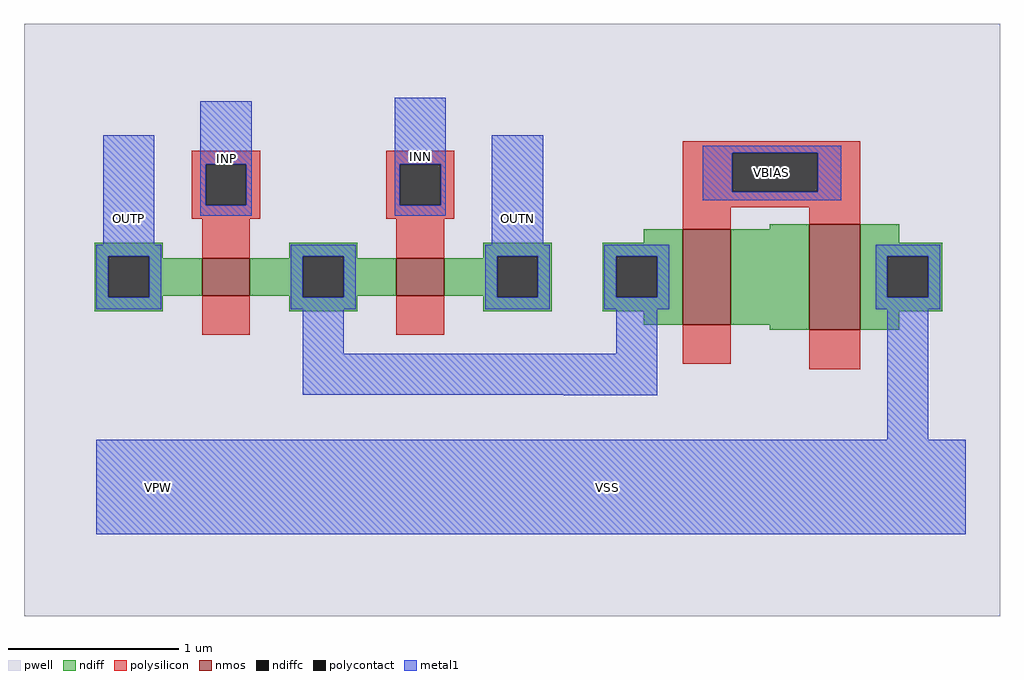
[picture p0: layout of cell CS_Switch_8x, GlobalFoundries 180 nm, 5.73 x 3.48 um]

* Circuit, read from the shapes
.subckt CS_Switch_8x INP INN OUTP OUTN VBIAS VSS VPW
XM1 n1 INP OUTP VPW nfet_03v3 w=0.22u l=0.28u
XM2 OUTN INN n1 VPW nfet_03v3 w=0.22u l=0.28u
XM3 n2 VBIAS n1 VPW nfet_03v3 w=0.56u l=0.28u
XM4 VSS VBIAS n2 VPW nfet_03v3 w=0.62u l=0.3u
.ends

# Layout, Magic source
magic
tech gf180mcuD
magscale 1 10
<< pwell >>
rect 519 1024 1664 1719
<< nmos >>
rect 728 1400 784 1444
rect 956 1400 1012 1444
rect 1292 1366 1348 1478
rect 1440 1360 1500 1484
<< ndiff >>
rect 602 1446 682 1462
rect 602 1398 618 1446
rect 666 1444 682 1446
rect 830 1446 910 1462
rect 830 1444 846 1446
rect 666 1400 728 1444
rect 784 1400 846 1444
rect 666 1398 682 1400
rect 602 1382 682 1398
rect 830 1398 846 1400
rect 894 1444 910 1446
rect 1394 1478 1440 1484
rect 1246 1462 1292 1478
rect 1058 1446 1138 1462
rect 1058 1444 1074 1446
rect 894 1400 956 1444
rect 1012 1400 1074 1444
rect 894 1398 910 1400
rect 830 1382 910 1398
rect 1058 1398 1074 1400
rect 1122 1398 1138 1446
rect 1058 1382 1138 1398
rect 1198 1446 1292 1462
rect 1198 1398 1214 1446
rect 1262 1398 1292 1446
rect 1198 1382 1292 1398
rect 1246 1366 1292 1382
rect 1348 1366 1440 1478
rect 1394 1360 1440 1366
rect 1500 1462 1546 1484
rect 1500 1446 1596 1462
rect 1500 1398 1532 1446
rect 1580 1398 1596 1446
rect 1500 1382 1596 1398
rect 1500 1360 1546 1382
<< ndiffc >>
rect 618 1398 666 1446
rect 846 1398 894 1446
rect 1074 1398 1122 1446
rect 1214 1398 1262 1446
rect 1532 1398 1580 1446
<< polysilicon >>
rect 716 1554 796 1570
rect 716 1506 732 1554
rect 780 1506 796 1554
rect 716 1490 796 1506
rect 944 1554 1024 1570
rect 944 1506 960 1554
rect 1008 1506 1024 1554
rect 944 1490 1024 1506
rect 1292 1568 1500 1581
rect 1292 1522 1350 1568
rect 1450 1522 1500 1568
rect 1292 1504 1500 1522
rect 728 1444 784 1490
rect 728 1354 784 1400
rect 956 1444 1012 1490
rect 1292 1478 1348 1504
rect 1440 1484 1500 1504
rect 956 1354 1012 1400
rect 1292 1320 1348 1366
rect 1440 1314 1500 1360
<< polycontact >>
rect 732 1506 780 1554
rect 960 1506 1008 1554
rect 1350 1522 1450 1568
<< metal1 >>
rect 612 1460 672 1588
rect 726 1554 786 1628
rect 726 1506 732 1554
rect 780 1506 786 1554
rect 726 1494 786 1506
rect 954 1554 1014 1632
rect 954 1506 960 1554
rect 1008 1506 1014 1554
rect 954 1494 1014 1506
rect 1068 1460 1128 1588
rect 1315 1568 1478 1576
rect 1315 1522 1350 1568
rect 1450 1522 1478 1568
rect 1315 1512 1478 1522
rect 604 1446 680 1460
rect 604 1398 618 1446
rect 666 1398 680 1446
rect 604 1384 680 1398
rect 832 1446 908 1460
rect 832 1398 846 1446
rect 894 1398 908 1446
rect 832 1384 908 1398
rect 1060 1446 1136 1460
rect 1060 1398 1074 1446
rect 1122 1398 1136 1446
rect 1060 1384 1136 1398
rect 1200 1446 1276 1460
rect 1200 1398 1214 1446
rect 1262 1398 1276 1446
rect 1200 1384 1276 1398
rect 1518 1446 1594 1460
rect 1518 1398 1532 1446
rect 1580 1398 1594 1446
rect 1518 1384 1594 1398
rect 846 1332 894 1384
rect 1214 1332 1262 1384
rect 846 1284 1262 1332
rect 1152 1283 1262 1284
rect 1532 1231 1580 1384
rect 604 1120 1624 1231
<< labels >>
flabel metal1 726 1494 786 1628 1 FreeSans 400 0 0 0 INP
port 1 nsew signal input
flabel metal1 954 1494 1014 1632 1 FreeSans 400 0 0 0 INN
port 2 nsew signal input
flabel metal1 612 1392 672 1588 1 FreeSans 400 0 0 0 OUTP
port 3 nsew power bidirectional
flabel metal1 1068 1392 1128 1588 1 FreeSans 400 0 0 0 OUTN
port 4 nsew power bidirectional
flabel metal1 1315 1512 1478 1576 1 FreeSans 400 0 0 0 VBIAS
port 5 nsew power bidirectional
flabel pwell 619 1123 734 1226 1 FreeSans 400 0 0 0 VPW
port 7 nsew ground bidirectional
flabel metal1 784 1120 1624 1231 1 FreeSans 400 0 0 0 VSS
port 6 nsew ground bidirectional
<< end >>
